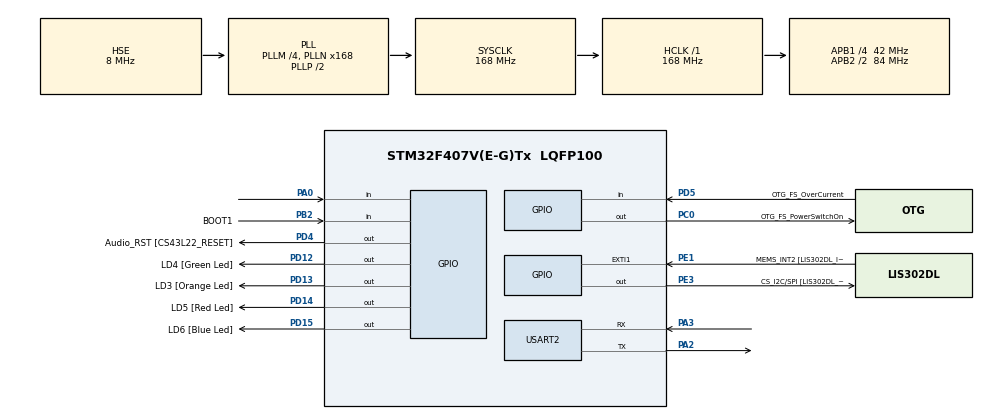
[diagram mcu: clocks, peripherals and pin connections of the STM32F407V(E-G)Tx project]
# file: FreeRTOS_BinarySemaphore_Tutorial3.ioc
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Mcu.Family=STM32F4
PA11.GPIO_Speed=GPIO_SPEED_FREQ_LOW
PC3.GPIO_Mode=GPIO_MODE_AF_PP
PD12.GPIO_Label=LD4 [Green Led]
PH0-OSC_IN.Signal=RCC_OSC_IN
RCC.CortexFreq_Value=168000000
FREERTOS.BinarySemaphores01=BinarySemaphore,Dynamic,NULL
PC10.GPIO_PuPd=GPIO_NOPULL
PB10.GPIO_Speed=GPIO_SPEED_FREQ_LOW
PB6.GPIO_Mode=GPIO_MODE_AF_OD
PB10.GPIO_PuPd=GPIO_NOPULL
PA10.GPIO_PuPd=GPIO_NOPULL
PD15.GPIO_Speed=GPIO_SPEED_FREQ_LOW
PC10.Signal=I2S3_CK
PC12.Signal=I2S3_SD
PA14.GPIO_Label=SWCLK
PA7.GPIO_Mode=GPIO_MODE_AF_PP
PC0.GPIO_Label=OTG_FS_PowerSwitchOn
PA6.GPIO_Label=SPI1_MISO [LIS302DL_SDO]
PB6.GPIO_Label=Audio_SCL [CS43L22_SCL]
PC10.GPIO_Speed=GPIO_SPEED_FREQ_LOW
PA11.GPIO_PuPd=GPIO_NOPULL
PC15-OSC32_OUT.GPIO_Label=PC15-OSC32_OUT
PC3.GPIO_Speed=GPIO_SPEED_FREQ_LOW
RCC.SYSCLKSource=RCC_SYSCLKSOURCE_PLLCLK
ProjectManager.StackSize=0x400
PA6.GPIO_Mode=GPIO_MODE_AF_PP
PD13.Signal=GPIO_Output
PD14.GPIO_Speed=GPIO_SPEED_FREQ_LOW
PA12.Signal=USB_OTG_FS_DP
RCC.HCLKFreq_Value=168000000
PD4.Signal=GPIO_Output
RCC.APB2TimFreq_Value=168000000
PB6.Signal=I2C1_SCL
PC7.Signal=I2S3_MCK
PC3.Signal=I2S2_SD
PE1.Signal=GPXTI1
RCC.AHBFreq_Value=168000000
PH0-OSC_IN.Mode=HSE-External-Oscillator
PH0-OSC_IN.GPIO_Label=PH0-OSC_IN
PA9.GPIO_Mode=GPIO_MODE_INPUT
RCC.HSE_VALUE=8000000
PA4.GPIO_PuPd=GPIO_NOPULL
PB2.Signal=GPIO_Input
PA4.GPIO_Speed=GPIO_SPEED_FREQ_LOW
PA6.GPIO_PuPd=GPIO_NOPULL
VP_SYS_VS_tim1.Mode=TIM1
PA5.GPIO_PuPd=GPIO_NOPULL
PA10.GPIO_Label=OTG_FS_ID
PC7.GPIO_Mode=GPIO_MODE_AF_PP
PD5.GPIO_Mode=GPIO_MODE_INPUT
PD14.GPIO_PuPd=GPIO_NOPULL
VP_FREERTOS_VS_CMSIS_V1.Mode=CMSIS_V1
PB2.GPIO_PuPd=GPIO_NOPULL
PH1-OSC_OUT.Mode=HSE-External-Oscillator
PD13.GPIO_Label=LD3 [Orange Led]
Mcu.Package=LQFP100
PB9.Signal=I2C1_SDA
PA6.Signal=SPI1_MISO
NVIC.TimeBase=TIM1_UP_TIM10_IRQn
USART2.VirtualMode=VM_ASYNC
PD12.Signal=GPIO_Output
PD5.GPIO_Label=OTG_FS_OverCurrent
PD15.GPIO_PuPd=GPIO_NOPULL
NVIC.TimeBaseIP=TIM1
PA10.Signal=USB_OTG_FS_ID
PB9.GPIO_PuPd=GPIO_NOPULL
PA10.GPIO_Speed=GPIO_SPEED_FREQ_LOW
RCC.APB2CLKDivider=RCC_HCLK_DIV2
PB9.GPIO_Speed=GPIO_SPEED_FREQ_LOW
RCC.APB1TimFreq_Value=84000000
PC14-OSC32_IN.GPIO_Label=PC14-OSC32_IN
PC12.GPIO_PuPd=GPIO_NOPULL
PA6.GPIO_Speed=GPIO_SPEED_FREQ_LOW
PC0.GPIO_PuPd=GPIO_NOPULL
PA12.GPIO_PuPd=GPIO_NOPULL
PA4.GPIO_Label=I2S3_WS [CS43L22_LRCK]
PD15.Signal=GPIO_Output
PC0.PinState=GPIO_PIN_SET
PA12.GPIO_Speed=GPIO_SPEED_FREQ_LOW
PA3.Signal=USART2_RX
PB3.GPIO_Label=SWO
RCC.PLLSourceVirtual=RCC_PLLSOURCE_HSE
PD12.GPIO_Speed=GPIO_SPEED_FREQ_LOW
FREERTOS.Tasks01=NormalTask,0,128,StartNormalTask,Default,NULL,Dynamic,NULL,NULL;HighTask,1,128,StartHighTask,Default,NULL,Dynamic,NULL,NULL;LowTask,-1,128,StartLowTask,Default,NULL,Dynamic,NULL,NULL
PD15.GPIO_Label=LD6 [Blue Led]
PB9.GPIO_Label=Audio_SDA [CS43L22_SDA]
PC10.GPIO_Label=I2S3_SCK [CS43L22_SCLK]
PA9.GPIO_Label=VBUS_FS
PB6.GPIO_PuPd=GPIO_NOPULL
PA11.GPIO_Label=OTG_FS_DM
PE1.GPIO_PuPd=GPIO_NOPULL
PD5.Signal=GPIO_Input
PC0.Signal=GPIO_Output
PE1.GPIO_ModeDefaultEXTI=GPIO_MODE_EVT_RISING
RCC.APB1CLKDivider=RCC_HCLK_DIV4
PC14-OSC32_IN.Signal=RCC_OSC32_IN
PA9.GPIO_PuPd=GPIO_NOPULL
PA12.GPIO_Label=OTG_FS_DP
PA0-WKUP.Signal=GPIO_Input
PA10.GPIO_Mode=GPIO_MODE_AF_PP
PA3.Mode=Asynchronous
PA13.Signal=SYS_JTMS-SWDIO
PC10.GPIO_Mode=GPIO_MODE_AF_PP
PD4.GPIO_PuPd=GPIO_NOPULL
PC0.GPIO_Speed=GPIO_SPEED_FREQ_LOW
PB10.GPIO_Mode=GPIO_MODE_AF_PP
ProjectManager.TargetToolchain=STM32CubeIDE
PB10.GPIO_Label=CLK_IN [MP45DT02_CLK]
PA9.Signal=USB_OTG_FS_VBUS
PC7.GPIO_PuPd=GPIO_NOPULL
RCC.LSE_VALUE=32768
PC15-OSC32_OUT.Signal=RCC_OSC32_OUT
PA7.GPIO_PuPd=GPIO_NOPULL
PB10.Signal=I2S2_CK
PA5.Signal=SPI1_SCK
board=STM32F407G-DISC1
PD13.GPIO_Speed=GPIO_SPEED_FREQ_LOW
PC7.GPIO_Speed=GPIO_SPEED_FREQ_LOW
RCC.VCOOutputFreq_Value=336000000
PE1.GPIO_Label=MEMS_INT2 [LIS302DL_INT2]
PA7.GPIO_Speed=GPIO_SPEED_FREQ_LOW
PB9.GPIO_Mode=GPIO_MODE_AF_OD
PA12.GPIO_Mode=GPIO_MODE_AF_PP
PA4.GPIO_Mode=GPIO_MODE_AF_PP
RCC.APB2Freq_Value=84000000
PB2.GPIO_Mode=GPIO_MODE_INPUT
PD4.GPIO_Label=Audio_RST [CS43L22_RESET]
PD4.GPIO_Speed=GPIO_SPEED_FREQ_LOW
PE3.GPIO_PuPd=GPIO_NOPULL
PH1-OSC_OUT.Signal=RCC_OSC_OUT
PD13.GPIO_PuPd=GPIO_NOPULL
PD5.GPIO_PuPd=GPIO_NOPULL
PD14.GPIO_Label=LD5 [Red Led]
PH1-OSC_OUT.GPIO_Label=PH1-OSC_OUT
Mcu.Name=STM32F407V(E-G)Tx
PA2.Signal=USART2_TX
PA13.GPIO_Label=SWDIO
PC7.GPIO_Label=I2S3_MCK [CS43L22_MCLK]
PD14.Signal=GPIO_Output
RCC.48MHZClocksFreq_Value=48000000
PB3.Signal=SYS_JTDO-SWO
PA4.Signal=I2S3_WS
RCC.SYSCLKFreq_VALUE=168000000
PC12.GPIO_Mode=GPIO_MODE_AF_PP
PA7.GPIO_Label=SPI1_MOSI [LIS302DL_SDA/SDI/SDO]
PA5.GPIO_Label=SPI1_SCK [LIS302DL_SCL/SPC]
PE3.GPIO_Speed=GPIO_SPEED_FREQ_LOW
PC12.GPIO_Label=I2S3_SD [CS43L22_SDIN]
PA11.Signal=USB_OTG_FS_DM
PA14.Signal=SYS_JTCK-SWCLK
PB2.GPIO_Label=BOOT1
ProjectManager.HeapSize=0x200
NVIC.TIM1_UP_TIM10_IRQn=true\:0\:0\:false\:false\:true\:false\:false\:true
RCC.HSI_VALUE=16000000
PA5.GPIO_Speed=GPIO_SPEED_FREQ_LOW
RCC.PLLQ=7
NVIC.PriorityGroup=NVIC_PRIORITYGROUP_4
RCC.PLLM=4
RCC.PLLN=168
PE3.Signal=GPIO_Output
PA2.Mode=Asynchronous
PE3.GPIO_Label=CS_I2C/SPI [LIS302DL_CS_I2C/SPI]
PC3.GPIO_Label=PDM_OUT [MP45DT02_DOUT]
PA11.GPIO_Mode=GPIO_MODE_AF_PP
PB6.GPIO_Speed=GPIO_SPEED_FREQ_LOW
RCC.APB1Freq_Value=42000000
PA5.GPIO_Mode=GPIO_MODE_AF_PP
PC12.GPIO_Speed=GPIO_SPEED_FREQ_LOW
PC3.GPIO_PuPd=GPIO_NOPULL
PD12.GPIO_PuPd=GPIO_NOPULL
PA7.Signal=SPI1_MOSI

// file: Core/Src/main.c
/* USER CODE BEGIN Header */
/**
  ******************************************************************************
  * @file           : main.c
  * @brief          : Main program body
  ******************************************************************************
  * @attention
  *
  * <h2><center>&copy; Copyright (c) 2022 STMicroelectronics.
  * All rights reserved.</center></h2>
  *
  * This software component is licensed by ST under Ultimate Liberty license
  * SLA0044, the "License"; You may not use this file except in compliance with
  * the License. You may obtain a copy of the License at:
  *                             www.st.com/SLA0044
  *
  ******************************************************************************
  */
/* USER CODE END Header */
#include "main.h"
#include "cmsis_os.h"

/* USER CODE BEGIN Includes */
#include "string.h"

/* USER CODE END Includes */

UART_HandleTypeDef huart2;

osThreadId NormalTaskHandle;
osThreadId HighTaskHandle;
osThreadId LowTaskHandle;
osSemaphoreId BinarySemaphoreHandle;

void SystemClock_Config(void);
static void MX_GPIO_Init(void);
static void MX_USART2_UART_Init(void);
void StartNormalTask(void const * argument);
void StartHighTask(void const * argument);
void StartLowTask(void const * argument);

int main(void)
{

  /* MCU Configuration--------------------------------------------------------*/

  /* Reset of all peripherals, Initializes the Flash interface and the Systick. */
  HAL_Init();

  /* Configure the system clock */
  SystemClock_Config();

  /* Initialize all configured peripherals */
  MX_GPIO_Init();
  MX_USART2_UART_Init();

  /* Create the semaphores(s) */
  /* definition and creation of BinarySemaphore */
  osSemaphoreDef(BinarySemaphore);
  BinarySemaphoreHandle = osSemaphoreCreate(osSemaphore(BinarySemaphore), 1);

  /* Create the thread(s) */
  /* definition and creation of NormalTask */
  osThreadDef(NormalTask, StartNormalTask, osPriorityNormal, 0, 128);
  NormalTaskHandle = osThreadCreate(osThread(NormalTask), NULL);

  /* definition and creation of HighTask */
  osThreadDef(HighTask, StartHighTask, osPriorityAboveNormal, 0, 128);
  HighTaskHandle = osThreadCreate(osThread(HighTask), NULL);

  /* definition and creation of LowTask */
  osThreadDef(LowTask, StartLowTask, osPriorityBelowNormal, 0, 128);
  LowTaskHandle = osThreadCreate(osThread(LowTask), NULL);

  /* Start scheduler */
  osKernelStart();

  /* We should never get here as control is now taken by the scheduler */
  /* Infinite loop */
  while (1)
  {

  }
}

void SystemClock_Config(void)
{
  RCC_OscInitTypeDef RCC_OscInitStruct = {0};
  RCC_ClkInitTypeDef RCC_ClkInitStruct = {0};

  /** Configure the main internal regulator output voltage
  */
  __HAL_RCC_PWR_CLK_ENABLE();
  __HAL_PWR_VOLTAGESCALING_CONFIG(PWR_REGULATOR_VOLTAGE_SCALE1);
  /** Initializes the RCC Oscillators according to the specified parameters
  * in the RCC_OscInitTypeDef structure.
  */
  RCC_OscInitStruct.OscillatorType = RCC_OSCILLATORTYPE_HSE;
  RCC_OscInitStruct.HSEState = RCC_HSE_ON;
  RCC_OscInitStruct.PLL.PLLState = RCC_PLL_ON;
  RCC_OscInitStruct.PLL.PLLSource = RCC_PLLSOURCE_HSE;
  RCC_OscInitStruct.PLL.PLLM = 4;
  RCC_OscInitStruct.PLL.PLLN = 168;
  RCC_OscInitStruct.PLL.PLLP = RCC_PLLP_DIV2;
  RCC_OscInitStruct.PLL.PLLQ = 7;
  if (HAL_RCC_OscConfig(&RCC_OscInitStruct) != HAL_OK)
  {
    Error_Handler();
  }
  /** Initializes the CPU, AHB and APB buses clocks
  */
  RCC_ClkInitStruct.ClockType = RCC_CLOCKTYPE_HCLK|RCC_CLOCKTYPE_SYSCLK
                              |RCC_CLOCKTYPE_PCLK1|RCC_CLOCKTYPE_PCLK2;
  RCC_ClkInitStruct.SYSCLKSource = RCC_SYSCLKSOURCE_PLLCLK;
  RCC_ClkInitStruct.AHBCLKDivider = RCC_SYSCLK_DIV1;
  RCC_ClkInitStruct.APB1CLKDivider = RCC_HCLK_DIV4;
  RCC_ClkInitStruct.APB2CLKDivider = RCC_HCLK_DIV2;

  if (HAL_RCC_ClockConfig(&RCC_ClkInitStruct, FLASH_LATENCY_5) != HAL_OK)
  {
    Error_Handler();
  }
}

static void MX_USART2_UART_Init(void)
{

  huart2.Instance = USART2;
  huart2.Init.BaudRate = 115200;
  huart2.Init.WordLength = UART_WORDLENGTH_8B;
  huart2.Init.StopBits = UART_STOPBITS_1;
  huart2.Init.Parity = UART_PARITY_NONE;
  huart2.Init.Mode = UART_MODE_TX_RX;
  huart2.Init.HwFlowCtl = UART_HWCONTROL_NONE;
  huart2.Init.OverSampling = UART_OVERSAMPLING_16;
  if (HAL_UART_Init(&huart2) != HAL_OK)
  {
    Error_Handler();
  }

}

static void MX_GPIO_Init(void)
{
  GPIO_InitTypeDef GPIO_InitStruct = {0};

  /* GPIO Ports Clock Enable */
  __HAL_RCC_GPIOE_CLK_ENABLE();
  __HAL_RCC_GPIOC_CLK_ENABLE();
  __HAL_RCC_GPIOH_CLK_ENABLE();
  __HAL_RCC_GPIOA_CLK_ENABLE();
  __HAL_RCC_GPIOB_CLK_ENABLE();
  __HAL_RCC_GPIOD_CLK_ENABLE();

  /*Configure GPIO pin Output Level */
  HAL_GPIO_WritePin(CS_I2C_SPI_GPIO_Port, CS_I2C_SPI_Pin, GPIO_PIN_RESET);

  /*Configure GPIO pin Output Level */
  HAL_GPIO_WritePin(OTG_FS_PowerSwitchOn_GPIO_Port, OTG_FS_PowerSwitchOn_Pin, GPIO_PIN_SET);

  /*Configure GPIO pin Output Level */
  HAL_GPIO_WritePin(GPIOD, LD4_Pin|LD3_Pin|LD5_Pin|LD6_Pin
                          |Audio_RST_Pin, GPIO_PIN_RESET);

  /*Configure GPIO pin : CS_I2C_SPI_Pin */
  GPIO_InitStruct.Pin = CS_I2C_SPI_Pin;
  GPIO_InitStruct.Mode = GPIO_MODE_OUTPUT_PP;
  GPIO_InitStruct.Pull = GPIO_NOPULL;
  GPIO_InitStruct.Speed = GPIO_SPEED_FREQ_LOW;
  HAL_GPIO_Init(CS_I2C_SPI_GPIO_Port, &GPIO_InitStruct);

  /*Configure GPIO pin : OTG_FS_PowerSwitchOn_Pin */
  GPIO_InitStruct.Pin = OTG_FS_PowerSwitchOn_Pin;
  GPIO_InitStruct.Mode = GPIO_MODE_OUTPUT_PP;
  GPIO_InitStruct.Pull = GPIO_NOPULL;
  GPIO_InitStruct.Speed = GPIO_SPEED_FREQ_LOW;
  HAL_GPIO_Init(OTG_FS_PowerSwitchOn_GPIO_Port, &GPIO_InitStruct);

  /*Configure GPIO pin : PDM_OUT_Pin */
  GPIO_InitStruct.Pin = PDM_OUT_Pin;
  GPIO_InitStruct.Mode = GPIO_MODE_AF_PP;
  GPIO_InitStruct.Pull = GPIO_NOPULL;
  GPIO_InitStruct.Speed = GPIO_SPEED_FREQ_LOW;
  GPIO_InitStruct.Alternate = GPIO_AF5_SPI2;
  HAL_GPIO_Init(PDM_OUT_GPIO_Port, &GPIO_InitStruct);

  /*Configure GPIO pin : PA0 */
  GPIO_InitStruct.Pin = GPIO_PIN_0;
  GPIO_InitStruct.Mode = GPIO_MODE_INPUT;
  GPIO_InitStruct.Pull = GPIO_NOPULL;
  HAL_GPIO_Init(GPIOA, &GPIO_InitStruct);

  /*Configure GPIO pin : I2S3_WS_Pin */
  GPIO_InitStruct.Pin = I2S3_WS_Pin;
  GPIO_InitStruct.Mode = GPIO_MODE_AF_PP;
  GPIO_InitStruct.Pull = GPIO_NOPULL;
  GPIO_InitStruct.Speed = GPIO_SPEED_FREQ_LOW;
  GPIO_InitStruct.Alternate = GPIO_AF6_SPI3;
  HAL_GPIO_Init(I2S3_WS_GPIO_Port, &GPIO_InitStruct);

  /*Configure GPIO pins : SPI1_SCK_Pin SPI1_MISO_Pin SPI1_MOSI_Pin */
  GPIO_InitStruct.Pin = SPI1_SCK_Pin|SPI1_MISO_Pin|SPI1_MOSI_Pin;
  GPIO_InitStruct.Mode = GPIO_MODE_AF_PP;
  GPIO_InitStruct.Pull = GPIO_NOPULL;
  GPIO_InitStruct.Speed = GPIO_SPEED_FREQ_LOW;
  GPIO_InitStruct.Alternate = GPIO_AF5_SPI1;
  HAL_GPIO_Init(GPIOA, &GPIO_InitStruct);

  /*Configure GPIO pin : BOOT1_Pin */
  GPIO_InitStruct.Pin = BOOT1_Pin;
  GPIO_InitStruct.Mode = GPIO_MODE_INPUT;
  GPIO_InitStruct.Pull = GPIO_NOPULL;
  HAL_GPIO_Init(BOOT1_GPIO_Port, &GPIO_InitStruct);

  /*Configure GPIO pin : CLK_IN_Pin */
  GPIO_InitStruct.Pin = CLK_IN_Pin;
  GPIO_InitStruct.Mode = GPIO_MODE_AF_PP;
  GPIO_InitStruct.Pull = GPIO_NOPULL;
  GPIO_InitStruct.Speed = GPIO_SPEED_FREQ_LOW;
  GPIO_InitStruct.Alternate = GPIO_AF5_SPI2;
  HAL_GPIO_Init(CLK_IN_GPIO_Port, &GPIO_InitStruct);

  /*Configure GPIO pins : LD4_Pin LD3_Pin LD5_Pin LD6_Pin
                           Audio_RST_Pin */
  GPIO_InitStruct.Pin = LD4_Pin|LD3_Pin|LD5_Pin|LD6_Pin
                          |Audio_RST_Pin;
  GPIO_InitStruct.Mode = GPIO_MODE_OUTPUT_PP;
  GPIO_InitStruct.Pull = GPIO_NOPULL;
  GPIO_InitStruct.Speed = GPIO_SPEED_FREQ_LOW;
  HAL_GPIO_Init(GPIOD, &GPIO_InitStruct);

  /*Configure GPIO pins : I2S3_MCK_Pin I2S3_SCK_Pin I2S3_SD_Pin */
  GPIO_InitStruct.Pin = I2S3_MCK_Pin|I2S3_SCK_Pin|I2S3_SD_Pin;
  GPIO_InitStruct.Mode = GPIO_MODE_AF_PP;
  GPIO_InitStruct.Pull = GPIO_NOPULL;
  GPIO_InitStruct.Speed = GPIO_SPEED_FREQ_LOW;
  GPIO_InitStruct.Alternate = GPIO_AF6_SPI3;
  HAL_GPIO_Init(GPIOC, &GPIO_InitStruct);

  /*Configure GPIO pin : VBUS_FS_Pin */
  GPIO_InitStruct.Pin = VBUS_FS_Pin;
  GPIO_InitStruct.Mode = GPIO_MODE_INPUT;
  GPIO_InitStruct.Pull = GPIO_NOPULL;
  HAL_GPIO_Init(VBUS_FS_GPIO_Port, &GPIO_InitStruct);

  /*Configure GPIO pins : OTG_FS_ID_Pin OTG_FS_DM_Pin OTG_FS_DP_Pin */
  GPIO_InitStruct.Pin = OTG_FS_ID_Pin|OTG_FS_DM_Pin|OTG_FS_DP_Pin;
  GPIO_InitStruct.Mode = GPIO_MODE_AF_PP;
  GPIO_InitStruct.Pull = GPIO_NOPULL;
  GPIO_InitStruct.Speed = GPIO_SPEED_FREQ_LOW;
  GPIO_InitStruct.Alternate = GPIO_AF10_OTG_FS;
  HAL_GPIO_Init(GPIOA, &GPIO_InitStruct);

  /*Configure GPIO pin : OTG_FS_OverCurrent_Pin */
  GPIO_InitStruct.Pin = OTG_FS_OverCurrent_Pin;
  GPIO_InitStruct.Mode = GPIO_MODE_INPUT;
  GPIO_InitStruct.Pull = GPIO_NOPULL;
  HAL_GPIO_Init(OTG_FS_OverCurrent_GPIO_Port, &GPIO_InitStruct);

  /*Configure GPIO pins : Audio_SCL_Pin Audio_SDA_Pin */
  GPIO_InitStruct.Pin = Audio_SCL_Pin|Audio_SDA_Pin;
  GPIO_InitStruct.Mode = GPIO_MODE_AF_OD;
  GPIO_InitStruct.Pull = GPIO_PULLUP;
  GPIO_InitStruct.Speed = GPIO_SPEED_FREQ_LOW;
  GPIO_InitStruct.Alternate = GPIO_AF4_I2C1;
  HAL_GPIO_Init(GPIOB, &GPIO_InitStruct);

  /*Configure GPIO pin : MEMS_INT2_Pin */
  GPIO_InitStruct.Pin = MEMS_INT2_Pin;
  GPIO_InitStruct.Mode = GPIO_MODE_EVT_RISING;
  GPIO_InitStruct.Pull = GPIO_NOPULL;
  HAL_GPIO_Init(MEMS_INT2_GPIO_Port, &GPIO_InitStruct);

}

void StartNormalTask(void const * argument)
{
  /* USER CODE BEGIN 5 */
  /* Infinite loop */
  for(;;)
  {
	char *str1 = "Entered MediumTask and waiting for semaphore \r\n";
	HAL_UART_Transmit(&huart2, (uint8_t*)str1, strlen(str1) , 100);

	osSemaphoreWait(BinarySemaphoreHandle, osWaitForever);

	char *str3 = "Semaphore is acquired by MediumTask\r\n";
	HAL_UART_Transmit(&huart2, (uint8_t*)str3, strlen(str3) , 100);

	while(HAL_GPIO_ReadPin(GPIOA, GPIO_PIN_0));

	char *str2 = "Leaving MediumTask and releasing semaphore! \r\n";
	HAL_UART_Transmit(&huart2, (uint8_t*)str2, strlen(str2) , 100);

	osSemaphoreRelease(BinarySemaphoreHandle);
    osDelay(500);

  }
  /* USER CODE END 5 */
}

void StartHighTask(void const * argument)
{
  /* USER CODE BEGIN StartHighTask */
  /* Infinite loop */
  for(;;)
  {

	char *str1 = "Entered HighTask and waiting for semaphore \r\n";
	HAL_UART_Transmit(&huart2, (uint8_t*)str1, strlen(str1) , 100);

	osSemaphoreWait(BinarySemaphoreHandle, osWaitForever);

	char *str3 = "Semaphore is acquired by HighTask\r\n";
	HAL_UART_Transmit(&huart2, (uint8_t*)str3, strlen(str3) , 100);

	char *str2 = "Leaving HighTask and releasing semaphore! \r\n";
	HAL_UART_Transmit(&huart2, (uint8_t*)str2, strlen(str2) , 100);

	osSemaphoreRelease(BinarySemaphoreHandle);
    osDelay(500);

  }
  /* USER CODE END StartHighTask */
}

void StartLowTask(void const * argument)
{
  /* USER CODE BEGIN StartLowTask */
  /* Infinite loop */
  for(;;)
  {

	char *str1 = "Entered LowTask and waiting for semaphore \r\n";
	HAL_UART_Transmit(&huart2, (uint8_t*)str1, strlen(str1) , 100);

	osSemaphoreWait(BinarySemaphoreHandle, osWaitForever);

	char *str3 = "Semaphore is acquired by LowTask \r\n";
	HAL_UART_Transmit(&huart2, (uint8_t*)str3, strlen(str3) , 100);

	char *str2 = "Leaving LowTask and releasing semaphore! \r\n";
	HAL_UART_Transmit(&huart2, (uint8_t*)str2, strlen(str2) , 100);

	osSemaphoreRelease(BinarySemaphoreHandle);

    osDelay(500);

  }
  /* USER CODE END StartLowTask */
}

 /**
  * @brief  Period elapsed callback in non blocking mode
  * @note   This function is called  when TIM1 interrupt took place, inside
  * HAL_TIM_IRQHandler(). It makes a direct call to HAL_IncTick() to increment
  * a global variable "uwTick" used as application time base.
  * @param  htim : TIM handle
  * @retval None
  */
void HAL_TIM_PeriodElapsedCallback(TIM_HandleTypeDef *htim)
{
  if (htim->Instance == TIM1) {
    HAL_IncTick();
  }
}

void Error_Handler(void)
{
  __disable_irq();
  while (1)
  {
  }
}

/************************ (C) COPYRIGHT STMicroelectronics *****END OF FILE****/
